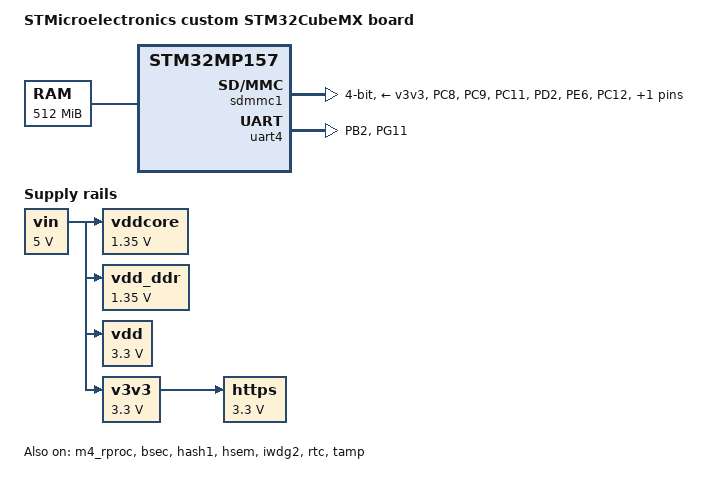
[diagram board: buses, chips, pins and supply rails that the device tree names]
/* SPDX-License-Identifier: (GPL-2.0+ OR BSD-3-Clause) */
/*
 * Copyright (C) STMicroelectronics 2021 - All Rights Reserved
 * Author: STM32CubeMX code generation for STMicroelectronics.
 */

/* For more information on Device Tree configuration, please refer to
 * https://wiki.st.com/stm32mpu/wiki/Category:Device_tree_configuration
 */

/dts-v1/;
#include <dt-bindings/pinctrl/stm32-pinfunc.h>

#include "stm32mp157.dtsi"
#include "stm32mp15xf.dtsi"
#include "stm32mp15xxab-pinctrl.dtsi"
#include "stm32mp157-m4-srm.dtsi"

/* USER CODE BEGIN includes */
#include <dt-bindings/mfd/st,stpmic1.h>
#include <dt-bindings/rtc/rtc-stm32.h>
/* USER CODE END includes */

/ {
	model = "STMicroelectronics custom STM32CubeMX board";
	compatible = "st,stm32mp157f-mp157f_breakout-mx", "st,stm32mp157";

	memory@c0000000 {
		device_type = "memory";
		reg = <0xc0000000 0x20000000>;

		/* USER CODE BEGIN memory */
		/* USER CODE END memory */
	};

	reserved-memory {
		#address-cells = <1>;
		#size-cells = <1>;
		ranges;

		/* USER CODE BEGIN reserved-memory */
		mcuram2:mcuram2@10000000{
			compatible = "shared-dma-pool";
			reg = <0x10000000 0x40000>;
			no-map;
		};

		vdev0vring0:vdev0vring0@10040000{
			compatible = "shared-dma-pool";
			reg = <0x10040000 0x1000>;
			no-map;
		};

		vdev0vring1:vdev0vring1@10041000{
			compatible = "shared-dma-pool";
			reg = <0x10041000 0x1000>;
			no-map;
		};

		vdev0buffer:vdev0buffer@10042000{
			compatible = "shared-dma-pool";
			reg = <0x10042000 0x4000>;
			no-map;
		};

		mcuram:mcuram@30000000{
			compatible = "shared-dma-pool";
			reg = <0x30000000 0x40000>;
			no-map;
		};

		retram:retram@38000000{
			compatible = "shared-dma-pool";
			reg = <0x38000000 0x10000>;
			no-map;
		};

		gpu_reserved:gpu@da000000{
			reg = <0xda000000 0x4000000>;
			no-map;
		};
		/* USER CODE END reserved-memory */
	};

	/* USER CODE BEGIN root */
	vin: vin {
		compatible = "regulator-fixed";
		regulator-name = "vin";
		regulator-min-microvolt = <5000000>;
		regulator-max-microvolt = <5000000>;
		regulator-always-on;
	};
	
	// http://www.ti.com/lit/ds/symlink/tps54202.pdf
    vddcore: TPS54202 {
    	
      compatible = "regulator-fixed";
      regulator-name = "vddcore";
      regulator-min-microvolt = <1350000>;
      regulator-max-microvolt = <1350000>;
      regulator-always-on;
      vin-supply = <&vin>;

    };
    
    // http://www.ti.com/lit/ds/symlink/tps54202.pdf
    vdd_ddr: TPS54202 {

        compatible = "regulator-fixed";
        regulator-name = "vdd_ddr";
        regulator-min-microvolt = <1350000>;
        regulator-max-microvolt = <1350000>;
        regulator-always-on;
        vin-supply = <&vin>;
    };
    
    // https://datasheet.lcsc.com/szlcsc/1912111437_Seaward-Elec-SE8233X2_C437587.pdf
    vdd: SE8233X2 {

        compatible = "regulator-fixed";
        regulator-name = "vdd";
        regulator-min-microvolt = <3300000>;
        regulator-max-microvolt = <3300000>;
        regulator-always-on;
        vin-supply = <&vin>;
    };
    
    // https://datasheet.lcsc.com/szlcsc/1912111437_Seaward-Elec-SE8233X2_C437587.pdf
    v3v3: SE8233X2 {
    	
        compatible = "regulator-fixed";
        regulator-name = "v3v3";
        regulator-min-microvolt = <3300000>;
        regulator-max-microvolt = <3300000>;
        regulator-always-on;
        vin-supply = <&vin>;
    	
    };
    
    https://datasheet.octopart.com/DMG2302U-7-Diodes-Inc.-datasheet-103571615.pdf
    vdd_usb: DMG2302U {
        compatible = "regulator-fixed";
		regulator-name = "vdd_usb";
		regulator-min-microvolt = <3300000>;
		regulator-max-microvolt = <3300000>;
		regulator-always-on;
		vin-supply = <&v3v3>;
    };
    

	aliases{
		serial0 = &uart4;
	};

	chosen{
		stdout-path = "serial0:115200n8";
	};
	/* USER CODE END root */

	clocks {
		/* USER CODE BEGIN clocks */
		/* USER CODE END clocks */

#ifndef CONFIG_STM32MP1_TRUSTED
		clk_lsi: clk-lsi {
			#clock-cells = <0>;
			compatible = "fixed-clock";
			clock-frequency = <32000>;
		};
		clk_hsi: clk-hsi {
			#clock-cells = <0>;
			compatible = "fixed-clock";
			clock-frequency = <64000000>;
		};
		clk_csi: clk-csi {
			clock-frequency = <4000000>;
		};
		clk_lse: clk-lse {
			clock-frequency = <32768>;
		};
		clk_hse: clk-hse {
			clock-frequency = <24000000>;
		};
#endif	/*CONFIG_STM32MP1_TRUSTED*/
	};

}; /*root*/

&pinctrl {
	u-boot,dm-pre-reloc;

	sdmmc1_pins_mx: sdmmc1_mx-0 {
		u-boot,dm-pre-reloc;
		pins1 {
			u-boot,dm-pre-reloc;
			pinmux = <STM32_PINMUX('C', 8, AF12)>, /* SDMMC1_D0 */
					 <STM32_PINMUX('C', 9, AF12)>, /* SDMMC1_D1 */
					 <STM32_PINMUX('C', 11, AF12)>, /* SDMMC1_D3 */
					 <STM32_PINMUX('D', 2, AF12)>, /* SDMMC1_CMD */
					 <STM32_PINMUX('E', 6, AF8)>; /* SDMMC1_D2 */
			bias-disable;
			drive-push-pull;
			slew-rate = <1>;
		};
		pins2 {
			u-boot,dm-pre-reloc;
			pinmux = <STM32_PINMUX('C', 12, AF12)>; /* SDMMC1_CK */
			bias-disable;
			drive-push-pull;
			slew-rate = <3>;
		};
	};

	sdmmc1_opendrain_pins_mx: sdmmc1_opendrain_mx-0 {
		u-boot,dm-pre-reloc;
		pins1 {
			u-boot,dm-pre-reloc;
			pinmux = <STM32_PINMUX('C', 8, AF12)>, /* SDMMC1_D0 */
					 <STM32_PINMUX('C', 9, AF12)>, /* SDMMC1_D1 */
					 <STM32_PINMUX('C', 11, AF12)>, /* SDMMC1_D3 */
					 <STM32_PINMUX('E', 6, AF8)>; /* SDMMC1_D2 */
			bias-disable;
			drive-push-pull;
			slew-rate = <1>;
		};
		pins2 {
			u-boot,dm-pre-reloc;
			pinmux = <STM32_PINMUX('C', 12, AF12)>; /* SDMMC1_CK */
			bias-disable;
			drive-push-pull;
			slew-rate = <3>;
		};
		pins3 {
			u-boot,dm-pre-reloc;
			pinmux = <STM32_PINMUX('D', 2, AF12)>; /* SDMMC1_CMD */
			bias-disable;
			drive-open-drain;
			slew-rate = <1>;
		};
	};

	sdmmc1_sleep_pins_mx: sdmmc1_sleep_mx-0 {
		u-boot,dm-pre-reloc;
		pins {
			u-boot,dm-pre-reloc;
			pinmux = <STM32_PINMUX('C', 8, ANALOG)>, /* SDMMC1_D0 */
					 <STM32_PINMUX('C', 9, ANALOG)>, /* SDMMC1_D1 */
					 <STM32_PINMUX('C', 11, ANALOG)>, /* SDMMC1_D3 */
					 <STM32_PINMUX('C', 12, ANALOG)>, /* SDMMC1_CK */
					 <STM32_PINMUX('D', 2, ANALOG)>, /* SDMMC1_CMD */
					 <STM32_PINMUX('E', 6, ANALOG)>; /* SDMMC1_D2 */
		};
	};

	uart4_pins_mx: uart4_mx-0 {
		u-boot,dm-pre-reloc;
		pins1 {
			u-boot,dm-pre-reloc;
			pinmux = <STM32_PINMUX('B', 2, AF8)>; /* UART4_RX */
			bias-disable;
		};
		pins2 {
			u-boot,dm-pre-reloc;
			pinmux = <STM32_PINMUX('G', 11, AF6)>; /* UART4_TX */
			bias-disable;
			drive-push-pull;
			slew-rate = <0>;
		};
	};

	uart4_sleep_pins_mx: uart4_sleep_mx-0 {
		u-boot,dm-pre-reloc;
		pins {
			u-boot,dm-pre-reloc;
			pinmux = <STM32_PINMUX('B', 2, ANALOG)>, /* UART4_RX */
					 <STM32_PINMUX('G', 11, ANALOG)>; /* UART4_TX */
		};
	};

	/* USER CODE BEGIN pinctrl */
	/* USER CODE END pinctrl */
};

&pinctrl_z {
	u-boot,dm-pre-reloc;

	/* USER CODE BEGIN pinctrl_z */
	/* USER CODE END pinctrl_z */
};

&m4_rproc{
	status = "okay";

	/* USER CODE BEGIN m4_rproc */
	/* USER CODE END m4_rproc */

	m4_system_resources{
		status = "okay";

		/* USER CODE BEGIN m4_system_resources */
		/* USER CODE END m4_system_resources */
	};
};

&bsec{
	status = "okay";

	/* USER CODE BEGIN bsec */
	/* USER CODE END bsec */
};

&dma1{
	status = "okay";

	/* USER CODE BEGIN dma1 */
	/* USER CODE END dma1 */
};

&dma2{
	status = "disabled";

	/* USER CODE BEGIN dma2 */
	/* USER CODE END dma2 */
};

&dmamux1{

	dma-masters = <&dma1>;
	dma-channels = <8>;

	status = "okay";

	/* USER CODE BEGIN dmamux1 */
	/* USER CODE END dmamux1 */
};

&hash1{
	u-boot,dm-pre-reloc;
	status = "okay";

	/* USER CODE BEGIN hash1 */
	/* USER CODE END hash1 */
};

&hsem{
	status = "okay";

	/* USER CODE BEGIN hsem */
	/* USER CODE END hsem */
};

&iwdg2{
	status = "okay";

	/* USER CODE BEGIN iwdg2 */
	/* USER CODE END iwdg2 */
};

&m4_dma2{
	status = "okay";

	/* USER CODE BEGIN m4_dma2 */
	/* USER CODE END m4_dma2 */
};

&mdma1{
	status = "okay";

	/* USER CODE BEGIN mdma1 */
	/* USER CODE END mdma1 */
};

&rcc{
	u-boot,dm-pre-reloc;
	status = "okay";

	/* USER CODE BEGIN rcc */
	/* USER CODE END rcc */
};

&rtc{
	status = "okay";

	/* USER CODE BEGIN rtc */
	/* USER CODE END rtc */
};

&sdmmc1{
	u-boot,dm-pre-reloc;
	pinctrl-names = "default", "opendrain", "sleep";
	pinctrl-0 = <&sdmmc1_pins_mx>;
	pinctrl-1 = <&sdmmc1_opendrain_pins_mx>;
	pinctrl-2 = <&sdmmc1_sleep_pins_mx>;
	status = "okay";

	/* USER CODE BEGIN sdmmc1 */
	cd-gpios = <&gpiob 7 (GPIO_ACTIVE_LOW | GPIO_PULL_UP)>;
	disable-wp;
	st,neg-edge;
	bus-width = <4>;
	vmmc-supply = <&v3v3>;
	/* USER CODE END sdmmc1 */
};

&tamp{
	status = "okay";

	/* USER CODE BEGIN tamp */
	/* USER CODE END tamp */
};

&uart4{
	u-boot,dm-pre-reloc;
	pinctrl-names = "default", "sleep";
	pinctrl-0 = <&uart4_pins_mx>;
	pinctrl-1 = <&uart4_sleep_pins_mx>;
	status = "okay";

	/* USER CODE BEGIN uart4 */
	/* USER CODE END uart4 */
};

/* USER CODE BEGIN addons */
&cpu0{
	cpu-supply = <&vddcore>;
};

&cpu1{
	cpu-supply = <&vddcore>;
};

&sram{

	dma_pool:dma_pool@0{
		reg = <0x50000 0x10000>;
		pool;
	};
};
/* USER CODE END addons */

